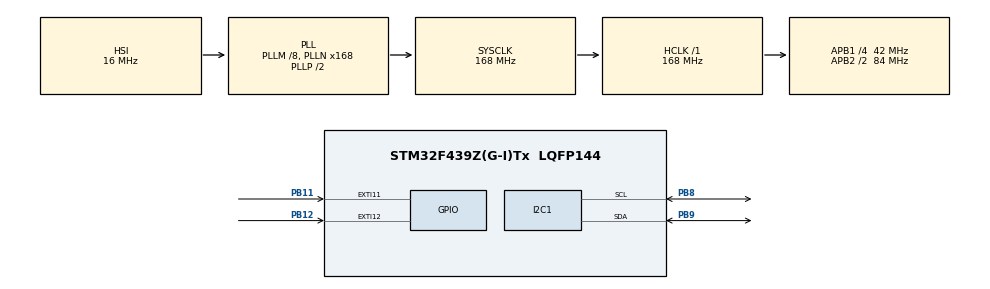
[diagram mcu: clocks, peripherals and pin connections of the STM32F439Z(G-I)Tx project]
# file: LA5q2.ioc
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Mcu.Family=STM32F4
Mcu.Name=STM32F439Z(G-I)Tx
Mcu.Package=LQFP144
NVIC.EXTI15_10_IRQn=true\:0\:0\:false\:false\:true\:true\:true\:true
NVIC.I2C1_ER_IRQn=true\:0\:0\:false\:false\:true\:true\:true\:true
NVIC.I2C1_EV_IRQn=true\:0\:0\:false\:false\:true\:true\:true\:true
NVIC.PriorityGroup=NVIC_PRIORITYGROUP_4
NVIC.TIM3_IRQn=true\:0\:0\:false\:false\:true\:true\:true\:true
PB11.GPIO_ModeDefaultEXTI=GPIO_MODE_IT_FALLING
PB11.GPIO_PuPd=GPIO_PULLUP
PB11.Signal=GPXTI11
PB12.GPIO_ModeDefaultEXTI=GPIO_MODE_IT_FALLING
PB12.GPIO_PuPd=GPIO_PULLUP
PB12.Signal=GPXTI12
PB8.GPIO_Pu=GPIO_PULLUP
PB8.Mode=I2C
PB8.Signal=I2C1_SCL
PB9.GPIO_Pu=GPIO_PULLUP
PB9.Mode=I2C
PB9.Signal=I2C1_SDA
ProjectManager.HeapSize=0x200
ProjectManager.StackSize=0x400
ProjectManager.TargetToolchain=STM32CubeIDE
RCC.48MHZClocksFreq_Value=48000000
RCC.AHBFreq_Value=168000000
RCC.APB1CLKDivider=RCC_HCLK_DIV4
RCC.APB1Freq_Value=42000000
RCC.APB1TimFreq_Value=84000000
RCC.APB2CLKDivider=RCC_HCLK_DIV2
RCC.APB2Freq_Value=84000000
RCC.APB2TimCLKDivider=2
RCC.APB2TimFreq_Value=168000000
RCC.CortexFreq_Value=168000000
RCC.HCLKFreq_Value=168000000
RCC.HSE_VALUE=8000000
RCC.HSI_VALUE=16000000
RCC.LSE_VALUE=32768
RCC.PLLM=8
RCC.PLLMUL=RCC_PLL_MUL9
RCC.PLLN=168
RCC.PLLQ=7
RCC.PRESCALERUSB=RCC_USBCLKSOURCE_PLL_DIV1_5
RCC.SYSCLKFreq_VALUE=168000000
RCC.SYSCLKSource=RCC_SYSCLKSOURCE_PLLCLK
RCC.SYSCLKSourceVirtual=RCC_SYSCLKSOURCE_PLLCLK
RCC.USBFreq_Value=48000000
RCC.VCOOutputFreq_Value=336000000
TIM3.AutoReloadPreload=TIM_AUTORELOAD_PRELOAD_ENABLE
TIM3.Period=10000-1
TIM3.Prescaler=16800-1
VP_TIM3_VS_ClockSourceINT.Mode=Internal
board=NUCLEO-F439ZI

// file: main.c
/* USER CODE BEGIN Header */
/**
  ******************************************************************************
  * @file           : main.c
  * @brief          : Main program body
  ******************************************************************************
  * @attention
  *
  * Copyright (c) 2025 STMicroelectronics.
  * All rights reserved.
  *
  * This software is licensed under terms that can be found in the LICENSE file
  * in the root directory of this software component.
  * If no LICENSE file comes with this software, it is provided AS-IS.
  *
  ******************************************************************************
  */
/* USER CODE END Header */
#include "main.h"

/* USER CODE BEGIN Includes */
#include "i2c_lcd.h"
/* USER CODE END Includes */

I2C_HandleTypeDef hi2c1;

TIM_HandleTypeDef htim3;

/* USER CODE BEGIN PV */
int counter = 0;
int up_down = 0;
int speed_level = 0;
char line[14];
const uint32_t speed_value[] = {10000, 5000, 2000, 1000};
/* USER CODE END PV */

void SystemClock_Config(void);
static void MX_GPIO_Init(void);
static void MX_I2C1_Init(void);
static void MX_TIM3_Init(void);
/* USER CODE BEGIN PFP */
void display(){
	lcd_clear();
	lcd_put_cur(0,0);

	if(up_down == 0)lcd_send_string("Up");
	else if(up_down == 1)lcd_send_string("Down");
	else if(up_down == 2)lcd_send_string("Idle");

	lcd_send_string("   ");

	if(speed_level == 0)lcd_send_string("Slow");
	else if(speed_level == 1)lcd_send_string("Medium");
	else if(speed_level == 2)lcd_send_string("Fast");
	else if(speed_level == 3)lcd_send_string("Turbo");

	lcd_put_cur(1,0);
	sprintf(line, "Counter: %03d", counter);
	lcd_send_string(line);
}
/* USER CODE END PFP */

int main(void)
{

  /* MCU Configuration--------------------------------------------------------*/

  /* Reset of all peripherals, Initializes the Flash interface and the Systick. */
  HAL_Init();

  /* Configure the system clock */
  SystemClock_Config();

  /* Initialize all configured peripherals */
  MX_GPIO_Init();
  MX_I2C1_Init();
  MX_TIM3_Init();
  /* USER CODE BEGIN 2 */

  lcd_init();
  display();
  HAL_TIM_Base_Start_IT(&htim3);
  /* USER CODE END 2 */

  /* Infinite loop */
  while (1)
  {

  }
}

void SystemClock_Config(void)
{
  RCC_OscInitTypeDef RCC_OscInitStruct = {0};
  RCC_ClkInitTypeDef RCC_ClkInitStruct = {0};

  /** Configure the main internal regulator output voltage
  */
  __HAL_RCC_PWR_CLK_ENABLE();
  __HAL_PWR_VOLTAGESCALING_CONFIG(PWR_REGULATOR_VOLTAGE_SCALE1);

  /** Initializes the RCC Oscillators according to the specified parameters
  * in the RCC_OscInitTypeDef structure.
  */
  RCC_OscInitStruct.OscillatorType = RCC_OSCILLATORTYPE_HSI;
  RCC_OscInitStruct.HSIState = RCC_HSI_ON;
  RCC_OscInitStruct.HSICalibrationValue = RCC_HSICALIBRATION_DEFAULT;
  RCC_OscInitStruct.PLL.PLLState = RCC_PLL_ON;
  RCC_OscInitStruct.PLL.PLLSource = RCC_PLLSOURCE_HSI;
  RCC_OscInitStruct.PLL.PLLM = 8;
  RCC_OscInitStruct.PLL.PLLN = 168;
  RCC_OscInitStruct.PLL.PLLP = RCC_PLLP_DIV2;
  RCC_OscInitStruct.PLL.PLLQ = 7;
  if (HAL_RCC_OscConfig(&RCC_OscInitStruct) != HAL_OK)
  {
    Error_Handler();
  }

  /** Initializes the CPU, AHB and APB buses clocks
  */
  RCC_ClkInitStruct.ClockType = RCC_CLOCKTYPE_HCLK|RCC_CLOCKTYPE_SYSCLK
                              |RCC_CLOCKTYPE_PCLK1|RCC_CLOCKTYPE_PCLK2;
  RCC_ClkInitStruct.SYSCLKSource = RCC_SYSCLKSOURCE_PLLCLK;
  RCC_ClkInitStruct.AHBCLKDivider = RCC_SYSCLK_DIV1;
  RCC_ClkInitStruct.APB1CLKDivider = RCC_HCLK_DIV4;
  RCC_ClkInitStruct.APB2CLKDivider = RCC_HCLK_DIV2;

  if (HAL_RCC_ClockConfig(&RCC_ClkInitStruct, FLASH_LATENCY_5) != HAL_OK)
  {
    Error_Handler();
  }
}

static void MX_I2C1_Init(void)
{

  hi2c1.Instance = I2C1;
  hi2c1.Init.ClockSpeed = 100000;
  hi2c1.Init.DutyCycle = I2C_DUTYCYCLE_2;
  hi2c1.Init.OwnAddress1 = 0;
  hi2c1.Init.AddressingMode = I2C_ADDRESSINGMODE_7BIT;
  hi2c1.Init.DualAddressMode = I2C_DUALADDRESS_DISABLE;
  hi2c1.Init.OwnAddress2 = 0;
  hi2c1.Init.GeneralCallMode = I2C_GENERALCALL_DISABLE;
  hi2c1.Init.NoStretchMode = I2C_NOSTRETCH_DISABLE;
  if (HAL_I2C_Init(&hi2c1) != HAL_OK)
  {
    Error_Handler();
  }

  /** Configure Analogue filter
  */
  if (HAL_I2CEx_ConfigAnalogFilter(&hi2c1, I2C_ANALOGFILTER_ENABLE) != HAL_OK)
  {
    Error_Handler();
  }

  /** Configure Digital filter
  */
  if (HAL_I2CEx_ConfigDigitalFilter(&hi2c1, 0) != HAL_OK)
  {
    Error_Handler();
  }

}

static void MX_TIM3_Init(void)
{

  TIM_ClockConfigTypeDef sClockSourceConfig = {0};
  TIM_MasterConfigTypeDef sMasterConfig = {0};

  htim3.Instance = TIM3;
  htim3.Init.Prescaler = 16800-1;
  htim3.Init.CounterMode = TIM_COUNTERMODE_UP;
  htim3.Init.Period = 10000-1;
  htim3.Init.ClockDivision = TIM_CLOCKDIVISION_DIV1;
  htim3.Init.AutoReloadPreload = TIM_AUTORELOAD_PRELOAD_ENABLE;
  if (HAL_TIM_Base_Init(&htim3) != HAL_OK)
  {
    Error_Handler();
  }
  sClockSourceConfig.ClockSource = TIM_CLOCKSOURCE_INTERNAL;
  if (HAL_TIM_ConfigClockSource(&htim3, &sClockSourceConfig) != HAL_OK)
  {
    Error_Handler();
  }
  sMasterConfig.MasterOutputTrigger = TIM_TRGO_RESET;
  sMasterConfig.MasterSlaveMode = TIM_MASTERSLAVEMODE_DISABLE;
  if (HAL_TIMEx_MasterConfigSynchronization(&htim3, &sMasterConfig) != HAL_OK)
  {
    Error_Handler();
  }

}

static void MX_GPIO_Init(void)
{
  GPIO_InitTypeDef GPIO_InitStruct = {0};

  /* GPIO Ports Clock Enable */
  __HAL_RCC_GPIOB_CLK_ENABLE();

  /*Configure GPIO pins : PB11 PB12 */
  GPIO_InitStruct.Pin = GPIO_PIN_11|GPIO_PIN_12;
  GPIO_InitStruct.Mode = GPIO_MODE_IT_FALLING;
  GPIO_InitStruct.Pull = GPIO_PULLUP;
  HAL_GPIO_Init(GPIOB, &GPIO_InitStruct);

  /* EXTI interrupt init*/
  HAL_NVIC_SetPriority(EXTI15_10_IRQn, 0, 0);
  HAL_NVIC_EnableIRQ(EXTI15_10_IRQn);

}

/* USER CODE BEGIN 4 */

void HAL_TIM_PeriodElapsedCallback(TIM_HandleTypeDef *htim){
	if(htim == &htim3){
		if(up_down == 0){
			counter = (counter + 1)%1000;
		}
		else if(up_down == 1){
			if(counter ==0) counter = 999;
			else counter = counter - 1;
		}
		display();
	}
}

void HAL_GPIO_EXTI_Callback(uint16_t GPIO_Pin) {
	static uint32_t last_interrupt_time = 0;
	uint32_t curr_time = HAL_GetTick();

	if(curr_time - last_interrupt_time <200){
		return;
	}
	last_interrupt_time = curr_time;

	if(GPIO_Pin == GPIO_PIN_11){
		up_down  = (up_down+1) % 3;
	}
	if(GPIO_Pin == GPIO_PIN_12){
		speed_level = (speed_level+1)%4;
		__HAL_TIM_SET_AUTORELOAD(&htim3, speed_value[speed_level] - 1);
	}
	display();
}

/* USER CODE END 4 */

void Error_Handler(void)
{
  __disable_irq();
  while (1)
  {
  }
}
